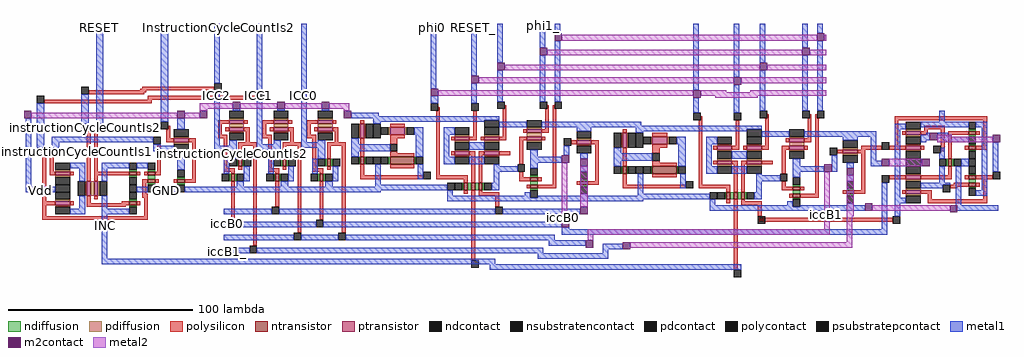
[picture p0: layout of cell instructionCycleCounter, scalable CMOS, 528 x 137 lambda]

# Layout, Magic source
magic
tech scmos
<< polysilicon >>
rect -128 174 -89 175
rect -129 173 -89 174
rect -157 172 -126 173
rect -157 171 -127 172
rect -125 168 -66 170
rect -181 166 -123 168
rect -157 151 -156 153
rect -181 138 -180 140
rect -182 113 -180 138
rect -178 138 -177 140
rect -178 129 -176 138
rect -178 127 -175 129
rect -167 127 -165 129
rect -158 124 -156 151
rect -154 151 -153 153
rect -114 152 -113 154
rect -154 129 -152 151
rect -115 147 -113 152
rect -115 145 -111 147
rect -103 145 -99 147
rect -120 129 -118 144
rect -154 127 -135 129
rect -131 127 -129 129
rect -127 127 -125 129
rect -121 127 -118 129
rect -154 124 -152 127
rect -101 125 -99 145
rect -70 143 -66 145
rect -46 143 -42 145
rect -22 143 -18 145
rect 104 144 107 146
rect 115 144 119 146
rect -182 111 -175 113
rect -167 111 -165 113
rect -158 112 -156 116
rect -154 114 -152 116
rect -128 123 -125 125
rect -121 123 -119 125
rect -111 123 -109 125
rect -105 123 -99 125
rect -128 117 -126 123
rect -128 115 -125 117
rect -139 112 -135 113
rect -158 111 -135 112
rect -131 111 -129 113
rect -182 105 -180 111
rect -158 110 -137 111
rect -127 105 -125 115
rect -182 103 -125 105
rect -80 103 -78 122
rect -68 89 -66 143
rect -56 110 -54 122
rect -44 96 -42 143
rect -32 103 -30 122
rect -20 96 -18 143
rect 117 124 119 144
rect 261 141 272 143
rect 248 139 251 141
rect 259 139 263 141
rect 107 122 109 124
rect 113 122 119 124
rect 261 119 263 139
rect 251 117 253 119
rect 257 117 263 119
rect 205 102 278 104
<< ndiffusion >>
rect -135 129 -131 130
rect -125 129 -121 130
rect -135 126 -131 127
rect -125 125 -121 127
rect -109 125 -105 126
rect -125 122 -121 123
rect -109 122 -105 123
rect -135 113 -131 114
rect -135 110 -131 111
rect 109 124 113 125
rect 109 121 113 122
rect 253 119 257 120
rect 253 116 257 117
<< pdiffusion >>
rect -175 129 -167 130
rect -175 126 -167 127
rect -111 147 -103 148
rect -111 144 -103 145
rect -159 116 -158 124
rect -156 116 -154 124
rect -152 116 -151 124
rect 107 146 115 147
rect 107 143 115 144
rect -175 113 -167 114
rect -175 110 -167 111
rect 251 141 259 142
rect 251 138 259 139
<< metal1 >>
rect -191 121 -188 158
rect -185 142 -181 166
rect -161 155 -157 171
rect -153 155 -149 209
rect -118 156 -114 209
rect -89 177 -86 209
rect -109 152 -105 158
rect -177 145 -122 148
rect -177 142 -173 145
rect -122 143 -118 144
rect -122 140 -111 143
rect -89 143 -86 173
rect -66 172 -63 209
rect -79 162 -75 163
rect -66 144 -63 168
rect -55 162 -51 163
rect -42 145 -39 209
rect 28 174 31 209
rect 50 181 53 209
rect 64 188 67 209
rect 87 196 90 209
rect 95 204 98 209
rect 28 166 32 170
rect 50 166 53 177
rect 64 167 67 184
rect 87 167 90 192
rect 95 167 98 200
rect 170 173 173 209
rect 192 180 195 209
rect 206 188 209 209
rect 229 196 232 209
rect 237 204 240 209
rect -31 162 -27 163
rect 170 161 173 169
rect 192 161 195 176
rect 206 162 209 184
rect 229 162 232 192
rect 237 162 240 200
rect 99 153 127 156
rect 107 151 115 153
rect 241 148 269 151
rect -89 140 -77 143
rect -66 141 -53 144
rect -42 142 -29 145
rect 251 146 259 148
rect -167 131 -159 134
rect -162 124 -159 131
rect -150 131 -135 134
rect -150 124 -147 131
rect -131 131 -125 134
rect -109 130 -105 140
rect 100 138 103 143
rect 109 136 113 139
rect 109 129 113 132
rect 245 129 248 138
rect 266 135 269 148
rect 253 131 257 134
rect 266 132 272 135
rect -191 118 -175 121
rect -162 109 -159 116
rect -167 106 -159 109
rect -150 109 -147 116
rect 253 124 257 127
rect -131 118 -125 121
rect -121 118 -109 121
rect -77 121 -73 124
rect -53 121 -49 124
rect -29 121 -25 124
rect -105 118 -15 121
rect 109 116 113 117
rect 99 113 127 116
rect 253 111 257 112
rect -150 106 -135 109
rect -84 106 -58 109
rect -54 106 63 109
rect 67 106 109 109
rect 241 108 263 111
rect -150 82 -147 106
rect -84 99 -80 102
rect -76 99 -34 102
rect -30 99 99 102
rect 99 98 103 99
rect 272 98 275 123
rect 279 105 282 113
rect 313 108 315 111
rect -84 92 -46 95
rect -42 92 -22 95
rect 99 95 275 98
rect -18 92 95 95
rect 92 89 112 92
rect -84 85 -70 88
rect -66 85 89 88
rect 121 87 132 90
rect 121 85 124 87
rect 86 82 124 85
rect -150 79 63 82
rect 60 76 196 79
<< metal2 >>
rect 99 200 237 203
rect 241 200 242 203
rect 91 192 229 195
rect 233 192 242 195
rect 68 184 206 187
rect 210 184 242 187
rect 54 177 192 180
rect 196 177 242 180
rect 32 170 170 173
rect 174 172 188 173
rect 201 172 242 173
rect 174 170 242 172
rect 182 169 205 170
rect -97 163 -79 166
rect -75 163 -55 166
rect -51 163 -31 166
rect -27 163 -16 166
rect -97 162 -93 163
rect -188 158 -109 161
rect -105 158 -97 161
rect -19 162 -16 163
rect 109 110 113 132
rect 99 103 102 110
rect 253 105 257 127
rect 267 108 309 111
rect 241 98 244 105
rect 113 95 244 98
rect 113 92 116 95
rect 253 91 256 105
rect 136 88 256 91
<< ntransistor >>
rect -135 127 -131 129
rect -125 127 -121 129
rect -125 123 -121 125
rect -109 123 -105 125
rect -135 111 -131 113
rect 109 122 113 124
rect 253 117 257 119
<< ptransistor >>
rect -175 127 -167 129
rect -111 145 -103 147
rect -158 116 -156 124
rect -154 116 -152 124
rect 107 144 115 146
rect -175 111 -167 113
rect 251 139 259 141
<< polycontact >>
rect -161 171 -157 175
rect -89 173 -85 177
rect -185 166 -181 170
rect -66 168 -62 172
rect -161 151 -157 155
rect -185 138 -181 142
rect -177 138 -173 142
rect -153 151 -149 155
rect -118 152 -114 156
rect -122 144 -118 148
rect 100 143 104 147
rect -80 99 -76 103
rect -58 106 -54 110
rect -34 99 -30 103
rect 244 138 248 142
rect 278 101 282 105
rect -46 92 -42 96
rect -22 92 -18 96
rect -70 85 -66 89
<< ndcontact >>
rect -135 130 -131 134
rect -125 130 -121 134
rect -135 122 -131 126
rect -109 126 -105 130
rect -135 114 -131 118
rect -125 118 -121 122
rect -109 118 -105 122
rect -135 106 -131 110
rect 109 125 113 129
rect 109 117 113 121
rect 253 120 257 124
rect 253 112 257 116
<< pdcontact >>
rect -175 130 -167 134
rect -175 122 -167 126
rect -111 148 -103 152
rect 107 147 115 151
rect -111 140 -103 144
rect -175 114 -167 118
rect -163 116 -159 124
rect -151 116 -147 124
rect -175 106 -167 110
rect 107 139 115 143
rect 251 142 259 146
rect 251 134 259 138
<< m2contact >>
rect -192 158 -188 162
rect -109 158 -105 162
rect -97 158 -93 162
rect -79 163 -75 167
rect -55 163 -51 167
rect 95 200 99 204
rect 87 192 91 196
rect 64 184 68 188
rect 50 177 54 181
rect 28 170 32 174
rect -31 163 -27 167
rect 237 200 241 204
rect 229 192 233 196
rect 206 184 210 188
rect 192 176 196 180
rect 170 169 174 173
rect -19 158 -15 162
rect 109 132 113 136
rect 253 127 257 131
rect 109 106 113 110
rect 263 108 267 112
rect 99 99 103 103
rect 309 107 313 111
rect 112 88 116 92
rect 132 87 136 91
<< psubstratepcontact >>
rect -135 118 -131 122
<< nsubstratencontact >>
rect -175 118 -167 122
use nor2  nor2_0
transform 1 0 -73 0 1 153
box -14 -31 4 9
use nor2  nor2_1
transform 1 0 -49 0 1 153
box -14 -31 4 9
use nor2  nor2_2
transform 1 0 -25 0 1 153
box -14 -31 4 9
use iccBit  iccBit_0
transform 1 0 -61 0 1 70
box 46 7 164 97
use iccBit  iccBit_1
transform 1 0 81 0 1 65
box 46 7 164 97
use trickyxor2  trickyxor2_0
transform 1 0 292 0 1 119
box -20 -11 44 43
<< labels >>
rlabel metal2 100 104 100 104 1 iccB0
rlabel space 242 106 242 106 1 iccB1
rlabel metal2 255 106 255 106 1 iccB1_
rlabel metal1 -82 101 -82 101 3 iccB0
rlabel metal1 -82 108 -82 108 3 iccB0_
rlabel metal1 -82 94 -82 94 3 iccB1
rlabel metal1 -82 86 -82 86 3 iccB1_
rlabel metal1 -183 119 -183 119 3 Vdd
rlabel metal1 -115 119 -115 119 7 GND
rlabel polycontact -159 153 -159 153 5 instructionCycleCountIs2
rlabel polycontact -151 153 -151 153 5 RESET
rlabel polycontact -183 140 -183 140 3 instructionCycleCountIs1
rlabel polycontact -120 146 -120 146 1 BranchInstruction_
rlabel metal1 -148 100 -148 100 1 INC
rlabel polycontact -116 154 -116 154 5 BranchInstruction
rlabel space -79 139 -79 139 1 instructionCycleCountIs2
rlabel space -55 139 -55 139 1 instructionCycleCountIs1
rlabel space -31 139 -31 139 1 instructionCycleCountIs0
rlabel metal1 -88 170 -88 170 5 ICC2
rlabel polycontact -65 170 -65 170 5 ICC1
rlabel metal1 -41 170 -41 170 5 ICC0
rlabel metal1 -151 207 -151 207 5 RESET
rlabel metal1 -116 207 -116 207 5 BranchInstruction
rlabel metal1 -87 207 -87 207 5 InstructionCycleCountIs2
rlabel metal1 -65 207 -65 207 5 InstructionCycleCountIs1
rlabel metal1 -41 207 -41 207 5 InstructionCycleCountIs0
rlabel metal1 29 207 29 207 5 phi0
rlabel metal1 51 207 51 207 5 RESET_
rlabel metal1 65 207 65 207 5 phi0_
rlabel metal1 89 208 89 208 5 phi1_
rlabel metal1 97 207 97 207 5 phi1
<< end >>

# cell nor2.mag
magic
tech scmos
<< polysilicon >>
rect -14 2 -8 4
rect 0 2 2 4
rect -14 -4 -12 2
rect -10 -2 -8 0
rect 0 -2 3 0
rect -14 -6 -9 -4
rect -11 -22 -9 -6
rect 1 -8 3 -2
rect -3 -10 3 -8
rect -3 -17 -1 -10
rect -11 -24 -5 -22
rect -3 -23 -1 -21
rect -7 -25 -5 -24
rect -7 -31 -5 -29
<< ndiffusion >>
rect -4 -21 -3 -17
rect -1 -21 0 -17
rect -8 -29 -7 -25
rect -5 -29 -4 -25
<< pdiffusion >>
rect -8 4 0 5
rect -8 0 0 2
rect -8 -3 0 -2
<< metal1 >>
rect -8 -17 -4 -7
rect -11 -25 -8 -17
rect 0 -29 3 -21
<< ntransistor >>
rect -3 -21 -1 -17
rect -7 -29 -5 -25
<< ptransistor >>
rect -8 2 0 4
rect -8 -2 0 0
<< ndcontact >>
rect -8 -21 -4 -17
rect 0 -21 4 -17
rect -12 -29 -8 -25
rect -4 -29 0 -25
<< pdcontact >>
rect -8 5 0 9
rect -8 -7 0 -3
<< labels >>
rlabel polysilicon -10 -12 -10 -12 3 a
rlabel polysilicon -2 -12 -2 -12 1 b
rlabel metal1 -6 -12 -6 -12 1 out
rlabel pdcontact -4 7 -4 7 5 Vdd
rlabel metal1 1 -28 1 -28 8 GND
<< end >>

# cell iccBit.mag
magic
tech scmos
<< polysilicon >>
rect 93 92 94 94
rect 129 93 130 95
rect 152 93 153 95
rect 51 85 53 87
rect 67 83 75 85
rect 67 77 75 79
rect 51 67 53 77
rect 67 74 71 77
rect 67 69 71 70
rect 67 67 80 69
rect 51 57 53 63
rect 67 61 80 63
rect 51 55 85 57
rect 92 57 94 92
rect 112 78 114 92
rect 128 78 130 93
rect 151 82 153 93
rect 139 80 141 82
rect 149 80 153 82
rect 155 93 156 95
rect 100 76 102 78
rect 110 76 114 78
rect 116 76 118 78
rect 126 76 130 78
rect 137 76 141 78
rect 149 76 151 78
rect 100 68 102 70
rect 110 68 113 70
rect 92 55 109 57
rect 107 53 109 55
rect 111 53 113 68
rect 115 68 118 70
rect 126 68 132 70
rect 115 53 117 68
rect 137 63 139 76
rect 137 56 139 59
rect 137 54 143 56
rect 147 54 149 56
rect 155 52 157 93
rect 141 50 143 52
rect 147 50 157 52
rect 107 47 109 49
rect 111 11 113 49
rect 115 48 117 49
rect 115 46 126 48
rect 124 40 126 46
<< ndiffusion >>
rect 50 63 51 67
rect 53 63 54 67
rect 66 63 67 67
rect 80 63 81 67
rect 143 56 147 57
rect 106 49 107 53
rect 109 49 111 53
rect 113 49 115 53
rect 117 49 118 53
rect 143 52 147 54
rect 143 49 147 50
<< pdiffusion >>
rect 50 77 51 85
rect 53 77 54 85
rect 66 79 67 83
rect 75 79 76 83
rect 102 78 110 79
rect 118 78 126 79
rect 141 82 149 83
rect 141 78 149 80
rect 102 75 110 76
rect 102 70 110 71
rect 118 75 126 76
rect 118 70 126 71
rect 102 67 110 68
rect 118 67 126 68
rect 141 75 149 76
<< metal1 >>
rect 46 89 61 91
rect 46 88 126 89
rect 58 87 126 88
rect 58 86 118 87
rect 58 85 62 86
rect 126 83 141 86
rect 149 83 160 86
rect 80 79 85 83
rect 46 74 50 77
rect 46 70 67 74
rect 46 67 50 70
rect 81 67 85 79
rect 96 79 102 83
rect 96 67 99 79
rect 110 71 118 75
rect 143 67 147 71
rect 96 63 102 67
rect 110 63 118 67
rect 143 64 160 67
rect 59 52 62 63
rect 82 55 85 63
rect 123 62 126 63
rect 123 59 136 62
rect 143 61 147 64
rect 123 53 126 59
rect 59 51 98 52
rect 46 49 98 51
rect 122 49 126 53
rect 46 48 62 49
rect 98 46 101 49
rect 140 46 143 48
rect 98 45 143 46
rect 147 45 160 46
rect 98 43 160 45
<< metal2 >>
rect 160 40 163 64
<< ntransistor >>
rect 51 63 53 67
rect 67 63 80 67
rect 143 54 147 56
rect 107 49 109 53
rect 111 49 113 53
rect 115 49 117 53
rect 143 50 147 52
<< ptransistor >>
rect 51 77 53 85
rect 67 79 75 83
rect 141 80 149 82
rect 102 76 110 78
rect 118 76 126 78
rect 141 76 149 78
rect 102 68 110 70
rect 118 68 126 70
<< polycontact >>
rect 89 92 93 96
rect 111 92 115 96
rect 125 93 129 97
rect 148 93 152 97
rect 67 70 71 74
rect 85 55 89 59
rect 156 93 160 97
rect 136 59 140 63
rect 124 36 128 40
rect 111 7 115 11
<< ndcontact >>
rect 46 63 50 67
rect 54 63 58 67
rect 62 63 66 67
rect 81 63 85 67
rect 143 57 147 61
rect 102 49 106 53
rect 118 49 122 53
rect 143 45 147 49
<< pdcontact >>
rect 46 77 50 85
rect 54 77 58 85
rect 62 79 66 83
rect 76 79 80 83
rect 102 79 110 83
rect 118 79 126 83
rect 141 83 149 87
rect 102 71 110 75
rect 118 71 126 75
rect 102 63 110 67
rect 118 63 126 67
rect 141 71 149 75
<< m2contact >>
rect 160 64 164 68
<< psubstratepcontact >>
rect 58 63 62 67
rect 98 49 102 53
<< nsubstratencontact >>
rect 58 77 62 85
rect 118 83 126 87
<< labels >>
rlabel metal1 61 72 61 72 5 statnode
rlabel polycontact 113 94 113 94 5 RESET_
rlabel polycontact 127 95 127 95 5 phi0_
rlabel polycontact 91 94 91 94 4 phi0
rlabel polycontact 150 95 150 95 5 phi1_
rlabel polycontact 158 95 158 95 5 phi1
rlabel metal1 73 87 73 87 1 Vdd
rlabel metal1 80 51 80 51 1 GND
rlabel metal1 158 66 158 66 7 toInc
rlabel polycontact 126 38 126 38 5 fromInc
rlabel polycontact 113 9 113 9 5 INC
<< end >>

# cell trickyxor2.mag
magic
tech scmos
<< polysilicon >>
rect -13 38 37 40
rect -13 24 -11 38
rect 3 33 14 35
rect 3 32 5 33
rect -9 30 -7 32
rect 1 30 5 32
rect -16 22 -7 24
rect 1 22 3 24
rect 12 21 14 33
rect 16 30 27 32
rect 31 30 33 32
rect 16 17 18 30
rect 35 24 37 38
rect 25 22 27 24
rect 31 22 37 24
rect 16 8 18 13
rect -16 6 -7 8
rect 1 6 18 8
rect 25 6 27 8
rect 31 6 40 8
rect 19 3 27 4
rect -9 -2 -7 0
rect 1 -2 7 0
rect 17 2 27 3
rect 31 2 33 4
rect 17 1 21 2
rect 5 -5 7 -2
rect 35 -5 37 6
rect 5 -7 37 -5
<< ndiffusion >>
rect 27 32 31 33
rect 27 29 31 30
rect 27 24 31 25
rect 27 21 31 22
rect 15 13 16 17
rect 18 13 19 17
rect 27 8 31 9
rect 27 4 31 6
rect 27 1 31 2
<< pdiffusion >>
rect -7 32 1 33
rect -7 29 1 30
rect -7 24 1 25
rect -7 21 1 22
rect -7 8 1 9
rect -7 5 1 6
rect -7 0 1 1
rect -7 -3 1 -2
<< metal1 >>
rect 11 37 14 43
rect -13 33 -7 36
rect 1 34 27 37
rect 31 34 37 37
rect -13 -4 -10 33
rect 4 30 6 31
rect 1 27 6 30
rect 10 30 16 31
rect 10 29 18 30
rect 10 28 27 29
rect 13 27 27 28
rect 1 26 4 27
rect 15 26 27 27
rect 12 20 14 23
rect 11 17 14 20
rect 1 13 2 17
rect 23 13 27 17
rect 11 4 14 13
rect 1 3 17 4
rect 1 1 13 3
rect -13 -7 -7 -4
rect 20 -8 23 13
rect 34 0 37 34
rect 40 10 43 26
rect 31 -3 37 0
rect 20 -11 43 -8
<< metal2 >>
rect 10 29 18 30
rect 10 26 40 29
rect -16 13 2 17
<< ntransistor >>
rect 27 30 31 32
rect 27 22 31 24
rect 16 13 18 17
rect 27 6 31 8
rect 27 2 31 4
<< ptransistor >>
rect -7 30 1 32
rect -7 22 1 24
rect -7 6 1 8
rect -7 -2 1 0
<< polycontact >>
rect -20 22 -16 26
rect 8 20 12 24
rect -20 4 -16 8
rect 40 6 44 10
rect 13 -1 17 3
<< ndcontact >>
rect 27 33 31 37
rect 27 25 31 29
rect 27 17 31 21
rect 11 13 15 17
rect 19 13 23 17
rect 27 9 31 13
rect 27 -3 31 1
<< pdcontact >>
rect -7 33 1 37
rect -7 25 1 29
rect -7 17 1 21
rect -7 9 1 13
rect -7 1 1 5
rect -7 -7 1 -3
<< m2contact >>
rect -20 13 -16 17
rect 6 27 10 31
rect 2 13 6 17
rect 40 26 44 30
<< psubstratepcontact >>
rect 27 13 31 17
<< nsubstratencontact >>
rect -7 13 1 17
<< labels >>
rlabel polysilicon -8 23 -8 23 3 b
rlabel polysilicon -8 31 -8 31 3 a_
rlabel polysilicon -8 7 -8 7 3 a
rlabel polysilicon -8 -1 -8 -1 3 b_
rlabel polysilicon 26 3 26 3 1 a_
rlabel metal1 12 42 12 42 5 xor
rlabel metal1 41 -10 41 -10 8 GND
rlabel m2contact -18 15 -18 15 3 Vdd
rlabel polycontact -18 6 -18 6 3 a
rlabel polycontact -18 24 -18 24 3 b
<< end >>
